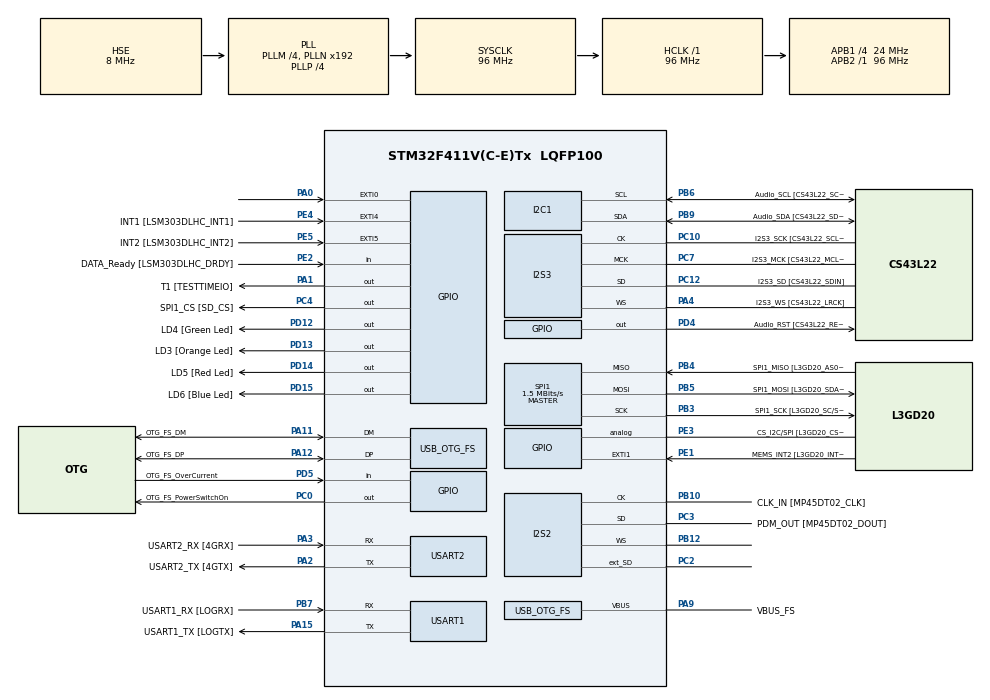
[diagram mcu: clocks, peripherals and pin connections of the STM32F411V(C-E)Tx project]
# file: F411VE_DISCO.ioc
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Dma.Request0=SPI3_TX
Dma.Request1=USART2_RX
Dma.SPI3_TX.0.Direction=DMA_MEMORY_TO_PERIPH
Dma.SPI3_TX.0.FIFOMode=DMA_FIFOMODE_ENABLE
Dma.SPI3_TX.0.FIFOThreshold=DMA_FIFO_THRESHOLD_FULL
Dma.SPI3_TX.0.Instance=DMA1_Stream5
Dma.SPI3_TX.0.MemBurst=DMA_MBURST_SINGLE
Dma.SPI3_TX.0.MemDataAlignment=DMA_MDATAALIGN_HALFWORD
Dma.SPI3_TX.0.MemInc=DMA_MINC_ENABLE
Dma.SPI3_TX.0.Mode=DMA_CIRCULAR
Dma.SPI3_TX.0.PeriphBurst=DMA_PBURST_SINGLE
Dma.SPI3_TX.0.PeriphDataAlignment=DMA_PDATAALIGN_HALFWORD
Dma.SPI3_TX.0.PeriphInc=DMA_PINC_DISABLE
Dma.SPI3_TX.0.Priority=DMA_PRIORITY_MEDIUM
Dma.USART2_RX.1.Direction=DMA_PERIPH_TO_MEMORY
Dma.USART2_RX.1.FIFOMode=DMA_FIFOMODE_DISABLE
Dma.USART2_RX.1.Instance=DMA1_Stream7
Dma.USART2_RX.1.MemDataAlignment=DMA_MDATAALIGN_BYTE
Dma.USART2_RX.1.MemInc=DMA_MINC_ENABLE
Dma.USART2_RX.1.Mode=DMA_CIRCULAR
Dma.USART2_RX.1.PeriphDataAlignment=DMA_PDATAALIGN_BYTE
Dma.USART2_RX.1.PeriphInc=DMA_PINC_DISABLE
Dma.USART2_RX.1.Priority=DMA_PRIORITY_LOW
FATFS._CODE_PAGE=936
FATFS._USE_LFN=2
FREERTOS.Tasks01=defaultTask,24,1024,StartDefaultTask,Default,NULL,Dynamic,NULL,NULL
FREERTOS.configCHECK_FOR_STACK_OVERFLOW=2
FREERTOS.configENABLE_FPU=1
FREERTOS.configMINIMAL_STACK_SIZE=256
FREERTOS.configTOTAL_HEAP_SIZE=65536
FREERTOS.configUSE_IDLE_HOOK=1
I2C1.OwnAddress=67
I2S2.AudioFreq=I2S_AUDIOFREQ_96K
I2S2.ErrorAudioFreq=0.22 %
I2S2.FullDuplexMode=I2S_FULLDUPLEXMODE_ENABLE
I2S2.Instance=SPI$Index
I2S2.RealAudioFreq=96.212 KHz
I2S2.VirtualMode=I2S_MODE_MASTER
I2S3.AudioFreq=I2S_AUDIOFREQ_44K
I2S3.ErrorAudioFreq=0.22 %
I2S3.FullDuplexMode=I2S_FULLDUPLEXMODE_DISABLE
I2S3.Instance=SPI$Index
I2S3.RealAudioFreq=44.097 KHz
I2S3.VirtualMode=I2S_MODE_MASTER
Mcu.Family=STM32F4
Mcu.Name=STM32F411V(C-E)Tx
Mcu.Package=LQFP100
NVIC.DMA1_Stream5_IRQn=true\:5\:0\:false\:false\:true\:true\:false\:true\:true
NVIC.DMA1_Stream7_IRQn=true\:5\:0\:false\:false\:true\:true\:false\:true\:true
NVIC.OTG_FS_IRQn=true\:5\:0\:false\:false\:true\:true\:true\:true\:true
NVIC.PriorityGroup=NVIC_PRIORITYGROUP_4
NVIC.TIM1_UP_TIM10_IRQn=true\:15\:0\:false\:false\:true\:false\:false\:true\:true
NVIC.TimeBase=TIM1_UP_TIM10_IRQn
NVIC.TimeBaseIP=TIM10
NVIC.USART2_IRQn=true\:5\:0\:false\:false\:true\:true\:true\:true\:true
PA0-WKUP.GPIO_ModeDefaultEXTI=GPIO_MODE_EVT_RISING
PA0-WKUP.Signal=GPXTI0
PA1.GPIO_Label=T1 [TESTTIMEIO]
PA1.Signal=GPIO_Output
PA10.GPIO_Label=OTG_FS_ID
PA10.Signal=USB_OTG_FS_ID
PA11.GPIO_Label=OTG_FS_DM
PA11.Mode=Host_Only
PA11.Signal=USB_OTG_FS_DM
PA12.GPIO_Label=OTG_FS_DP
PA12.Mode=Host_Only
PA12.Signal=USB_OTG_FS_DP
PA13.GPIO_Label=SWDIO
PA13.Mode=Serial_Wire
PA13.Signal=SYS_JTMS-SWDIO
PA14.GPIO_Label=SWCLK
PA14.Mode=Serial_Wire
PA14.Signal=SYS_JTCK-SWCLK
PA15.GPIO_Label=USART1_TX [LOGTX]
PA15.Mode=Asynchronous
PA15.Signal=USART1_TX
PA2.GPIO_Label=USART2_TX [4GTX]
PA2.Mode=Asynchronous
PA2.Signal=USART2_TX
PA3.GPIO_Label=USART2_RX [4GRX]
PA3.Mode=Asynchronous
PA3.Signal=USART2_RX
PA4.GPIO_Label=I2S3_WS [CS43L22_LRCK]
PA4.GPIO_Mode=GPIO_MODE_AF_PP
PA4.GPIO_PuPd=GPIO_NOPULL
PA4.GPIO_Speed=GPIO_SPEED_FREQ_LOW
PA4.Mode=Half_Duplex_Master
PA4.Signal=I2S3_WS
PA9.GPIO_Label=VBUS_FS
PA9.Mode=Activate_VBUS
PA9.Signal=USB_OTG_FS_VBUS
PB10.GPIO_Label=CLK_IN [MP45DT02_CLK]
PB10.Mode=Full_Duplex_Master
PB10.Signal=I2S2_CK
PB12.Mode=Full_Duplex_Master
PB12.Signal=I2S2_WS
PB3.GPIO_Label=SPI1_SCK [L3GD20_SC/SPC]
PB3.Mode=Full_Duplex_Master
PB3.Signal=SPI1_SCK
PB4.GPIO_Label=SPI1_MISO [L3GD20_AS0/SDO]
PB4.Mode=Full_Duplex_Master
PB4.Signal=SPI1_MISO
PB5.GPIO_Label=SPI1_MOSI [L3GD20_SDA/SDI/SDO]
PB5.Mode=Full_Duplex_Master
PB5.Signal=SPI1_MOSI
PB6.GPIO_Label=Audio_SCL [CS43L22_SCL]
PB6.GPIO_Mode=GPIO_MODE_AF_OD
PB6.GPIO_Pu=GPIO_PULLUP
PB6.GPIO_PuPd=GPIO_NOPULL
PB6.GPIO_Speed=GPIO_SPEED_FREQ_LOW
PB6.Mode=I2C
PB6.Signal=I2C1_SCL
PB7.GPIO_Label=USART1_RX [LOGRX]
PB7.Mode=Asynchronous
PB7.Signal=USART1_RX
PB9.GPIO_Label=Audio_SDA [CS43L22_SDA]
PB9.GPIO_Mode=GPIO_MODE_AF_OD
PB9.GPIO_Pu=GPIO_PULLUP
PB9.GPIO_PuPd=GPIO_NOPULL
PB9.GPIO_Speed=GPIO_SPEED_FREQ_LOW
PB9.Mode=I2C
PB9.Signal=I2C1_SDA
PC0.GPIO_Label=OTG_FS_PowerSwitchOn
PC0.PinState=GPIO_PIN_SET
PC0.Signal=GPIO_Output
PC10.GPIO_Label=I2S3_SCK [CS43L22_SCLK]
PC10.GPIO_Mode=GPIO_MODE_AF_PP
PC10.GPIO_PuPd=GPIO_NOPULL
PC10.GPIO_Speed=GPIO_SPEED_FREQ_LOW
PC10.Mode=Half_Duplex_Master
PC10.Signal=I2S3_CK
PC12.GPIO_Label=I2S3_SD [CS43L22_SDIN]
PC12.GPIO_Mode=GPIO_MODE_AF_PP
PC12.GPIO_PuPd=GPIO_NOPULL
PC12.GPIO_Speed=GPIO_SPEED_FREQ_LOW
PC12.Mode=Half_Duplex_Master
PC12.Signal=I2S3_SD
PC14-OSC32_IN.GPIO_Label=PC14-OSC32_IN
PC14-OSC32_IN.Mode=LSE-External-Oscillator
PC14-OSC32_IN.Signal=RCC_OSC32_IN
PC15-OSC32_OUT.GPIO_Label=PC15-OSC32_OUT
PC15-OSC32_OUT.Mode=LSE-External-Oscillator
PC15-OSC32_OUT.Signal=RCC_OSC32_OUT
PC2.Mode=Full_Duplex_Master
PC2.Signal=I2S2_ext_SD
PC3.GPIO_Label=PDM_OUT [MP45DT02_DOUT]
PC3.Mode=Full_Duplex_Master
PC3.Signal=I2S2_SD
PC4.GPIO_Label=SPI1_CS [SD_CS] 
PC4.GPIO_Speed=GPIO_SPEED_FREQ_VERY_HIGH
PC4.PinState=GPIO_PIN_SET
PC4.Signal=GPIO_Output
PC7.GPIO_Label=I2S3_MCK [CS43L22_MCLK]
PC7.GPIO_Mode=GPIO_MODE_AF_PP
PC7.GPIO_PuPd=GPIO_NOPULL
PC7.GPIO_Speed=GPIO_SPEED_FREQ_LOW
PC7.Mode=Master_Clock_Activated
PC7.Signal=I2S3_MCK
PD12.GPIO_Label=LD4 [Green Led]
PD12.GPIO_PuPd=GPIO_NOPULL
PD12.GPIO_Speed=GPIO_SPEED_FREQ_LOW
PD12.Signal=GPIO_Output
PD13.GPIO_Label=LD3 [Orange Led]
PD13.GPIO_PuPd=GPIO_NOPULL
PD13.GPIO_Speed=GPIO_SPEED_FREQ_LOW
PD13.Signal=GPIO_Output
PD14.GPIO_Label=LD5 [Red Led]
PD14.GPIO_PuPd=GPIO_NOPULL
PD14.GPIO_Speed=GPIO_SPEED_FREQ_LOW
PD14.Signal=GPIO_Output
PD15.GPIO_Label=LD6 [Blue Led]
PD15.GPIO_PuPd=GPIO_NOPULL
PD15.GPIO_Speed=GPIO_SPEED_FREQ_LOW
PD15.Signal=GPIO_Output
PD4.GPIO_Label=Audio_RST [CS43L22_RESET]
PD4.Signal=GPIO_Output
PD5.GPIO_Label=OTG_FS_OverCurrent
PD5.Signal=GPIO_Input
PE1.GPIO_Label=MEMS_INT2 [L3GD20_INT2]
PE1.GPIO_ModeDefaultEXTI=GPIO_MODE_EVT_RISING
PE1.Signal=GPXTI1
PE2.GPIO_Label=DATA_Ready [LSM303DLHC_DRDY]
PE2.Signal=GPIO_Input
PE3.GPIO_Label=CS_I2C/SPI [L3GD20_CS_I2C/SPI]
PE3.Signal=GPIO_Analog
PE4.GPIO_Label=INT1 [LSM303DLHC_INT1]
PE4.GPIO_ModeDefaultEXTI=GPIO_MODE_EVT_RISING
PE4.Signal=GPXTI4
PE5.GPIO_Label=INT2 [LSM303DLHC_INT2]
PE5.GPIO_ModeDefaultEXTI=GPIO_MODE_EVT_RISING
PE5.Signal=GPXTI5
PH0\ -\ OSC_IN.GPIO_Label=PH0-OSC_IN
PH0\ -\ OSC_IN.Mode=HSE-External-Oscillator
PH0\ -\ OSC_IN.Signal=RCC_OSC_IN
PH1\ -\ OSC_OUT.GPIO_Label=PH1-OSC_OUT
PH1\ -\ OSC_OUT.Mode=HSE-External-Oscillator
PH1\ -\ OSC_OUT.Signal=RCC_OSC_OUT
ProjectManager.HeapSize=0x200
ProjectManager.StackSize=0x1000
ProjectManager.TargetToolchain=MDK-ARM V5.32
RCC.48MHZClocksFreq_Value=48000000
RCC.AHBFreq_Value=96000000
RCC.APB1CLKDivider=RCC_HCLK_DIV4
RCC.APB1Freq_Value=24000000
RCC.APB1TimFreq_Value=48000000
RCC.APB2Freq_Value=96000000
RCC.APB2TimFreq_Value=96000000
RCC.CortexFreq_Value=96000000
RCC.HCLKFreq_Value=96000000
RCC.HSE_VALUE=8000000
RCC.HSI_VALUE=16000000
RCC.PLLI2SM=5
RCC.PLLI2SN=254
RCC.PLLI2SR=3
RCC.PLLM=4
RCC.PLLP=RCC_PLLP_DIV4
RCC.PLLQ=8
RCC.SYSCLKFreq_VALUE=96000000
RCC.SYSCLKSource=RCC_SYSCLKSOURCE_PLLCLK
RCC.VCOOutputFreq_Value=384000000
SPI1.BaudRatePrescaler=SPI_BAUDRATEPRESCALER_64
SPI1.CalculateBaudRate=1.5 MBits/s
SPI1.Direction=SPI_DIRECTION_2LINES
SPI1.Mode=SPI_MODE_MASTER
SPI1.VirtualType=VM_MASTER
USART1.VirtualMode=VM_ASYNC
USART2.VirtualMode=VM_ASYNC
USB_HOST.BSP.number=1
USB_HOST.USBH_HandleTypeDef=hUsbHostFS
USB_HOST.USBH_PROCESS_STACK_SIZE=256
USB_HOST.VirtualModeFS=Cdc
USB_HOST0.BSP.STBoard=false
USB_HOST0.BSP.api=Unknown
USB_HOST0.BSP.instance=PC0
USB_HOST0.BSP.ip=GPIO
USB_HOST0.BSP.mode=Output
USB_HOST0.BSP.name=Drive_VBUS_FS
USB_HOST0.BSP.solution=PC0
USB_OTG_FS.VirtualMode=Host_Only
USB_OTG_FS.phy_itface=HCD_PHY_EMBEDDED
VP_FATFS_VS_Generic.Mode=User_defined
VP_FREERTOS_VS_CMSIS_V2.Mode=CMSIS_V2
VP_SYS_VS_tim10.Mode=TIM10
VP_USB_HOST_VS_USB_HOST_CDC_FS.Mode=CDC_FS
board=STM32F411E-DISCO

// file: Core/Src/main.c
/* USER CODE BEGIN Header */
/**
 ******************************************************************************
 * @file           : main.c
 * @brief          : Main program body
 ******************************************************************************
 * @attention
 *
 * Copyright (c) 2026 STMicroelectronics.
 * All rights reserved.
 *
 * This software is licensed under terms that can be found in the LICENSE file
 * in the root directory of this software component.
 * If no LICENSE file comes with this software, it is provided AS-IS.
 *
 ******************************************************************************
 */
/* USER CODE END Header */
#include "main.h"
#include "cmsis_os.h"
#include "dma.h"
#include "fatfs.h"
#include "i2c.h"
#include "i2s.h"
#include "spi.h"
#include "usart.h"
#include "usb_host.h"
#include "gpio.h"

/* USER CODE BEGIN Includes */
#include <stdio.h>
#include <string.h>
#include "elog.h"
#ifdef USE_JLINK_RTT
#include "SEGGER_RTT.h"
#endif
/* USER CODE END Includes */

void SystemClock_Config(void);
void PeriphCommonClock_Config(void);
void MX_FREERTOS_Init(void);

/* USER CODE BEGIN 0 */
#ifdef USER_DEBUG_LOG
static void elog_init_config(void);
#endif // USER_DEBUG_LOG
/* USER CODE END 0 */

int main(void)
{

  /* MCU Configuration--------------------------------------------------------*/

  /* Reset of all peripherals, Initializes the Flash interface and the Systick. */
  HAL_Init();

  /* Configure the system clock */
  SystemClock_Config();

  /* Configure the peripherals common clocks */
  PeriphCommonClock_Config();

  /* Initialize all configured peripherals */
  MX_GPIO_Init();
  MX_DMA_Init();
  MX_I2C1_Init();
  MX_I2S2_Init();
  MX_I2S3_Init();
  MX_SPI1_Init();
  MX_USART1_UART_Init();
  MX_FATFS_Init();
  MX_USART2_UART_Init();
  /* USER CODE BEGIN 2 */
#ifdef USER_DEBUG_LOG
  elog_init_config();
#endif // end of USER_DEBUG_LOG

  /* USER CODE END 2 */

  /* Init scheduler */
  osKernelInitialize();

  /* Call init function for freertos objects (in cmsis_os2.c) */
  MX_FREERTOS_Init();

  /* Start scheduler */
  osKernelStart();

  /* We should never get here as control is now taken by the scheduler */

  /* Infinite loop */
  while(1)
  {

  }
}

void SystemClock_Config(void)
{
  RCC_OscInitTypeDef RCC_OscInitStruct = {0};
  RCC_ClkInitTypeDef RCC_ClkInitStruct = {0};

  /** Configure the main internal regulator output voltage
  */
  __HAL_RCC_PWR_CLK_ENABLE();
  __HAL_PWR_VOLTAGESCALING_CONFIG(PWR_REGULATOR_VOLTAGE_SCALE1);

  /** Initializes the RCC Oscillators according to the specified parameters
  * in the RCC_OscInitTypeDef structure.
  */
  RCC_OscInitStruct.OscillatorType = RCC_OSCILLATORTYPE_HSE;
  RCC_OscInitStruct.HSEState = RCC_HSE_ON;
  RCC_OscInitStruct.PLL.PLLState = RCC_PLL_ON;
  RCC_OscInitStruct.PLL.PLLSource = RCC_PLLSOURCE_HSE;
  RCC_OscInitStruct.PLL.PLLM = 4;
  RCC_OscInitStruct.PLL.PLLN = 192;
  RCC_OscInitStruct.PLL.PLLP = RCC_PLLP_DIV4;
  RCC_OscInitStruct.PLL.PLLQ = 8;
  if (HAL_RCC_OscConfig(&RCC_OscInitStruct) != HAL_OK)
  {
    Error_Handler();
  }

  /** Initializes the CPU, AHB and APB buses clocks
  */
  RCC_ClkInitStruct.ClockType = RCC_CLOCKTYPE_HCLK|RCC_CLOCKTYPE_SYSCLK
                              |RCC_CLOCKTYPE_PCLK1|RCC_CLOCKTYPE_PCLK2;
  RCC_ClkInitStruct.SYSCLKSource = RCC_SYSCLKSOURCE_PLLCLK;
  RCC_ClkInitStruct.AHBCLKDivider = RCC_SYSCLK_DIV1;
  RCC_ClkInitStruct.APB1CLKDivider = RCC_HCLK_DIV4;
  RCC_ClkInitStruct.APB2CLKDivider = RCC_HCLK_DIV1;

  if (HAL_RCC_ClockConfig(&RCC_ClkInitStruct, FLASH_LATENCY_3) != HAL_OK)
  {
    Error_Handler();
  }
}

void PeriphCommonClock_Config(void)
{
  RCC_PeriphCLKInitTypeDef PeriphClkInitStruct = {0};

  /** Initializes the peripherals clock
  */
  PeriphClkInitStruct.PeriphClockSelection = RCC_PERIPHCLK_I2S;
  PeriphClkInitStruct.PLLI2S.PLLI2SN = 254;
  PeriphClkInitStruct.PLLI2S.PLLI2SM = 5;
  PeriphClkInitStruct.PLLI2S.PLLI2SR = 3;
  if (HAL_RCCEx_PeriphCLKConfig(&PeriphClkInitStruct) != HAL_OK)
  {
    Error_Handler();
  }
}

/* USER CODE BEGIN 4 */
#ifdef USER_DEBUG_LOG
static void elog_init_config(void)
{
    elog_init();
    elog_start();
}
#endif // USER_DEBUG_LOG

/* I2S DMA TX complete callback */
extern void audio_out_tx_cplt(void);
void HAL_I2S_TxCpltCallback(I2S_HandleTypeDef *hi2s)
{
    if(hi2s == &hi2s3)
    {
        audio_out_tx_cplt();
    }
}

/* I2S DMA TX half-complete callback */
extern void audio_out_tx_half_cplt(void);
void HAL_I2S_TxHalfCpltCallback(I2S_HandleTypeDef *hi2s)
{
    if(hi2s == &hi2s3)
    {
        audio_out_tx_half_cplt();
    }
}

/* I2S error callback */
void HAL_I2S_ErrorCallback(I2S_HandleTypeDef *hi2s)
{
    if(hi2s == &hi2s3)
    {
        uint32_t err = HAL_I2S_GetError(hi2s);
        ((void)err);
    }
}
/* USER CODE END 4 */

void HAL_TIM_PeriodElapsedCallback(TIM_HandleTypeDef *htim)
{
  if (htim->Instance == TIM10)
  {
    HAL_IncTick();
  }
}

void Error_Handler(void)
{
  /* USER CODE BEGIN Error_Handler_Debug */
    /* User can add his own implementation to report the HAL error return state
     */
    __disable_irq();

    while(1)
    {
    }

  /* USER CODE END Error_Handler_Debug */
}

#ifdef  USE_FULL_ASSERT
/**
  * @brief  Reports the name of the source file and the source line number
  *         where the assert_param error has occurred.
  * @param  file: pointer to the source file name
  * @param  line: assert_param error line source number
  * @retval None
  */
void assert_failed(uint8_t *file, uint32_t line)
{
  /* USER CODE BEGIN 6 */
    /* User can add his own implementation to report the file name and line
       number, ex: printf("Wrong parameters value: file %s on line %d\r\n",
       file, line) */
  /* USER CODE END 6 */
}
#endif /* USE_FULL_ASSERT */

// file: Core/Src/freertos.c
/* USER CODE BEGIN Header */
/**
 ******************************************************************************
 * File Name          : freertos.c
 * Description        : Code for freertos applications
 ******************************************************************************
 * @attention
 *
 * Copyright (c) 2026 STMicroelectronics.
 * All rights reserved.
 *
 * This software is licensed under terms that can be found in the LICENSE file
 * in the root directory of this software component.
 * If no LICENSE file comes with this software, it is provided AS-IS.
 *
 ******************************************************************************
 */
/* USER CODE END Header */

#include "FreeRTOS.h"
#include "task.h"
#include "main.h"
#include "cmsis_os.h"

/* USER CODE BEGIN Includes */
#include "app_boot.h"
#ifdef USER_DEBUG_LOG
#include "elog.h"
#endif // USER_DEBUG_LOG
/* USER CODE END Includes */

/* Definitions for defaultTask */
osThreadId_t defaultTaskHandle;
const osThreadAttr_t defaultTask_attributes = {
  .name = "defaultTask",
  .stack_size = 1024 * 4,
  .priority = (osPriority_t) osPriorityNormal,
};

void StartDefaultTask(void *argument);

extern void MX_USB_HOST_Init(void);
void MX_FREERTOS_Init(void); /* (MISRA C 2004 rule 8.1) */

/* Hook prototypes */
void vApplicationIdleHook(void);
void vApplicationStackOverflowHook(xTaskHandle xTask, signed char *pcTaskName);

/* USER CODE BEGIN 2 */

#if defined(USER_IDLE_LOG) && defined(USER_DEBUG_LOG)
char pcWriteBuffer[512];
static uint32_t ulIdleCount = 0;
#endif //end of defined(USER_IDLE_LOG) && defined(USER_DEBUG_LOG)

void vApplicationIdleHook(void)
{
    /* vApplicationIdleHook() will only be called if configUSE_IDLE_HOOK is set
    to 1 in FreeRTOSConfig.h. It will be called on each iteration of the idle
    task. It is essential that code added to this hook function never attempts
    to block in any way (for example, call xQueueReceive() with a block time
    specified, or call vTaskDelay()). If the application makes use of the
    vTaskDelete() API function (as this demo application does) then it is also
    important that vApplicationIdleHook() is permitted to return to its calling
    function, because it is the responsibility of the idle task to clean up
    memory allocated by the kernel to any task that has since been deleted. */
#if defined(USER_IDLE_LOG) && defined(USER_DEBUG_LOG)
    ulIdleCount++;

    if ((ulIdleCount % 10000000) == 0)
    {
        vTaskList(pcWriteBuffer);
        log_i("Task Info:\n%s\n", pcWriteBuffer);
    }
#endif // end of defined(USER_IDLE_LOG) && defined(USER_DEBUG_LOG)
}
/* USER CODE END 2 */

/* USER CODE BEGIN 4 */
void vApplicationStackOverflowHook(xTaskHandle xTask, signed char *pcTaskName)
{
    /* Run time stack overflow checking is performed if
    configCHECK_FOR_STACK_OVERFLOW is defined to 1 or 2. This hook function is
    called if a stack overflow is detected. */
    configASSERT((pcTaskName != NULL) && (xTask != NULL));
#ifdef USER_DEBUG_LOG
    log_e("STACK OVERFLOW Task: %s (TCB: 0x%p)", pcTaskName, xTask);
#endif // USER_DEBUG_LOG

#if (configUSE_TRACE_FACILITY == 1)
    {
#ifdef USER_DEBUG_LOG
        UBaseType_t uxHighWaterMark = uxTaskGetStackHighWaterMark(xTask);
        log_e("Remaining Stack (min): %d words", uxHighWaterMark);
#endif // USER_DEBUG_LOG
    }

#endif
    for(;;)
    {
    }
}
/* USER CODE END 4 */

void MX_FREERTOS_Init(void) {
  /* USER CODE BEGIN Init */
//    app_boot_init();
  /* USER CODE END Init */

  /* Create the thread(s) */
  /* creation of defaultTask */
  defaultTaskHandle = osThreadNew(StartDefaultTask, NULL, &defaultTask_attributes);

}

void StartDefaultTask(void *argument)
{
  /* init code for USB_HOST */
//   MX_USB_HOST_Init();
  /* USER CODE BEGIN StartDefaultTask */
    vTaskSuspendAll();
    app_boot_init();
    xTaskResumeAll();
    vTaskDelete(NULL);
    for(;;)
    {
    }
  /* USER CODE END StartDefaultTask */
}
